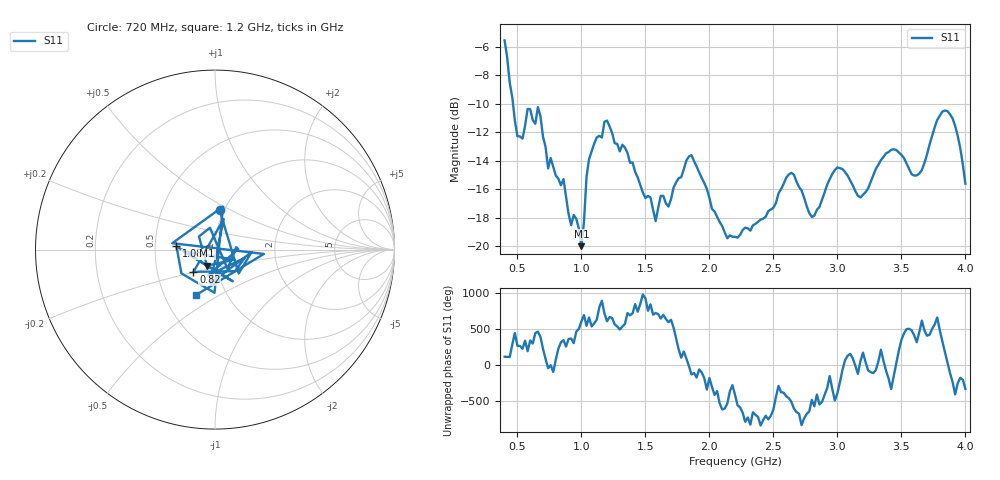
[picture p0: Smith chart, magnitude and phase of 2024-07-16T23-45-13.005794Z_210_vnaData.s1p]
!Created with skrf (http://scikit-rf.org).
# Hz S RI R 50.0
!freq ReS11 ImS11
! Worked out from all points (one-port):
!   181 points, 400 MHz to 4 GHz, reference 50 ohm
!   lowest |S11| = -20.0 dB at 1 GHz (marker M1), VSWR 1.22, Z = 45 - j8.14 ohm
!   |S11| at or under -10 dB: 465.5 MHz to end of sweep
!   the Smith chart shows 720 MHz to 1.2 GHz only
!   S11 on the Smith chart (normalised r, x): 720 MHz: 0.95, +0.44; 820 MHz: 0.76, -0.20; 1.08 GHz: 0.65, +0.02; 1.2 GHz: 0.72, -0.39
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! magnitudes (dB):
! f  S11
! 400 MHz  -5.6
! 500 MHz  -12.3
! 660 MHz  -10.2
! 720 MHz  -13.0
! 820 MHz  -15.3
! 860 MHz  -15.3
! 920 MHz  -18.5
! 960 MHz  -18.1
! 1 GHz  -20.0
! 1.04 GHz  -15.1
! 1.08 GHz  -13.3
! 1.2 GHz  -11.2
! 1.3 GHz  -13.3
! 1.58 GHz  -18.2
! 1.76 GHz  -15.2
! 1.86 GHz  -13.6
! 2.2 GHz  -19.3
! 2.66 GHz  -15.0
! 2.8 GHz  -17.9
! 3 GHz  -14.5
! 3.1 GHz  -15.4
! 3.18 GHz  -16.6
! 3.44 GHz  -13.2
! 3.56 GHz  -14.6
! 3.66 GHz  -14.6
! 3.84 GHz  -10.5
! 3.92 GHz  -11.6
! 4 GHz  -15.6
